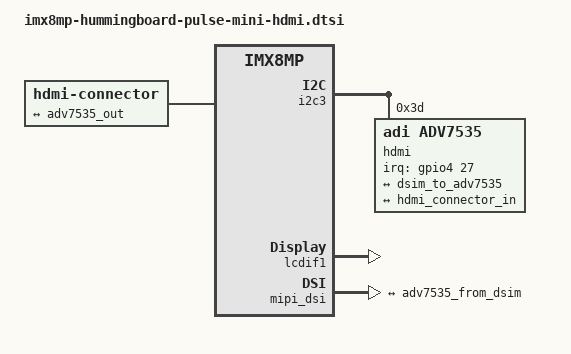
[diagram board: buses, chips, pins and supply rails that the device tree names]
// SPDX-License-Identifier: (GPL-2.0+ OR MIT)
/*
 * Copyright 2025 Josua Mayer <josua@solid-run.com>
 */

/ {
	hdmi-connector {
		compatible = "hdmi-connector";
		label = "hdmi";
		type = "c";

		port {
			hdmi_connector_in: endpoint {
				remote-endpoint = <&adv7535_out>;
			};
		};
	};
};

&i2c3 {
	hdmi@3d {
		compatible = "adi,adv7535";
		reg = <0x3d>;
		adi,addr-cec = <0x3c>;
		adi,addr-edid = <0x3f>;
		adi,addr-pkt = <0x38>;
		adi,dsi-lanes = <4>;
		pinctrl-names = "default";
		pinctrl-0 = <&mini_hdmi_pins>;
		interrupt-parent = <&gpio4>;
		interrupts = <27 IRQ_TYPE_EDGE_FALLING>;

		ports {
			#address-cells = <1>;
			#size-cells = <0>;

			port@0 {
				reg = <0>;

				adv7535_from_dsim: endpoint {
					remote-endpoint = <&dsim_to_adv7535>;
				};
			};

			port@1 {
				reg = <1>;

				adv7535_out: endpoint {
					remote-endpoint = <&hdmi_connector_in>;
				};
			};
		};
	};
};

&iomuxc {
	mini_hdmi_pins: mini-hdmi-pins {
		fsl,pins = <
			MX8MP_IOMUXC_SAI2_MCLK__GPIO4_IO27		0x0
		>;
	};
};

&lcdif1 {
	status = "okay";
};

&mipi_dsi {
	status = "okay";

	port@1 {
		dsim_to_adv7535: endpoint {
			remote-endpoint = <&adv7535_from_dsim>;
			attach-bridge;
		};
	};
};
